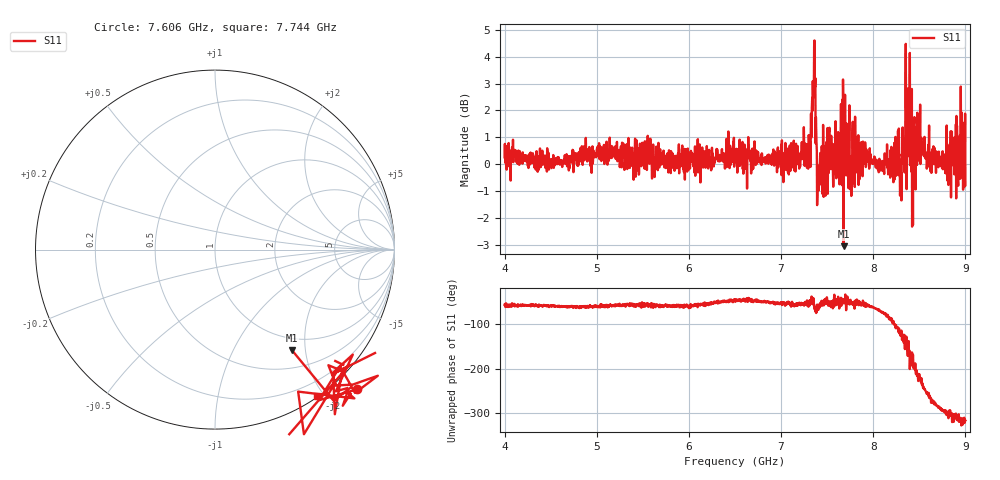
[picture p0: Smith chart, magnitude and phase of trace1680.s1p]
! Created with skrf 1.8.0 (http://scikit-rf.org).
# Hz S RI R 50.0
!freq ReS11 ImS11
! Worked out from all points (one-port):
!   1601 points, 4 GHz to 9 GHz, reference 50 ohm
!   lowest |S11| = -3.1 dB at 7.678 GHz (marker M1), VSWR 5.74, Z = 39.5 - j87.2 ohm
!   |S11| at or under -10 dB: nowhere
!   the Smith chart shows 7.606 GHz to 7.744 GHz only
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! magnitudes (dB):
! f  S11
! 4 GHz  0.3
! 4.625 GHz  -0.1
! 5.25 GHz  -0.1
! 5.875 GHz  0.0
! 6.5 GHz  0.4
! 7.125 GHz  0.5
! 7.297 GHz  0.1
! 7.347 GHz  2.6
! 7.362 GHz  4.6
! 7.412 GHz  -0.6
! 7.534 GHz  0.8
! 7.588 GHz  -0.3
! 7.65 GHz  2.2
! 7.678 GHz  -3.1
! 7.75 GHz  -0.4
! 7.8 GHz  -0.9
! 8.097 GHz  0.1
! 8.262 GHz  0.0
! 8.316 GHz  0.6
! 8.334 GHz  0.2
! 8.375 GHz  1.1
! 8.447 GHz  1.8
! 8.459 GHz  -0.9
! 8.503 GHz  0.6
! 8.794 GHz  0.5
! 8.953 GHz  0.1
! 8.972 GHz  1.1
! 9 GHz  -0.8
